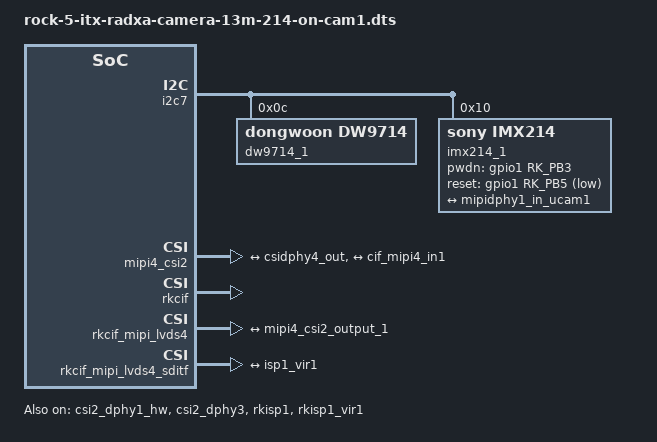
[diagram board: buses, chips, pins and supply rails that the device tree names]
/dts-v1/;
/plugin/;

#include <dt-bindings/clock/rk3588-cru.h>
#include <dt-bindings/power/rk3588-power.h>
#include <dt-bindings/gpio/gpio.h>
#include <dt-bindings/pinctrl/rockchip.h>

/ {
	metadata {
		title ="Enable Radxa Camera 13M 214 on CAM1";
		compatible = "radxa,rock-5-itx";
		category = "camera";
		exclusive = "csi2_dphy3";
		description = "Enable Radxa Camera 13M 214 on CAM1.";
	};
};

&i2c7 {
	status = "okay";
	#address-cells = <1>;
	#size-cells = <0>;

	dw9714_1: dw9714-1@c {
		compatible = "dongwoon,dw9714";
		status = "okay";
		reg = <0x0c>;
		rockchip,vcm-start-current = <10>;
		rockchip,vcm-rated-current = <85>;
		rockchip,vcm-step-mode = <3>;
		rockchip,camera-module-index = <0>;
		rockchip,camera-module-facing = "back";
	};

	imx214_1: imx214-1@10 {
		status = "okay";
		compatible = "sony,imx214";
		reg = <0x10>;
		clocks = <&cru CLK_MIPI_CAMARAOUT_M4>;
		clock-names = "xvclk";
		pinctrl-names = "default";
		pinctrl-0 = <&mipim0_camera4_clk>;
		power-domains = <&power RK3588_PD_VI>;
		pwdn-gpios = <&gpio1 RK_PB3 GPIO_ACTIVE_HIGH>;
		reset-gpios = <&gpio1 RK_PB5 GPIO_ACTIVE_LOW>;
		rockchip,camera-module-index = <1>;
		rockchip,camera-module-facing = "front";
		rockchip,camera-module-name = "RADXA-CAMERA-13M-214";
		rockchip,camera-module-lens-name = "DEFAULT";
		lens-focus = <&dw9714_1>;
		port {
			imx214_out1: endpoint {
				remote-endpoint = <&mipidphy1_in_ucam1>;
				data-lanes = <1 2 3 4>;
			};
		};
	};
};

&csi2_dphy1_hw {
	status = "okay";
};

&csi2_dphy3 {
	status = "okay";

	ports {
		#address-cells = <1>;
		#size-cells = <0>;

		port@0 {
			reg = <0>;
			#address-cells = <1>;
			#size-cells = <0>;

			mipidphy1_in_ucam1: endpoint@1 {
				reg = <1>;
				remote-endpoint = <&imx214_out1>;
				data-lanes = <1 2 3 4>;
			};
		};

		port@1 {
			reg = <1>;
			#address-cells = <1>;
			#size-cells = <0>;

			csidphy4_out: endpoint@0 {
				reg = <0>;
				remote-endpoint = <&mipi4_csi2_input_1>;
			};
		};
	};
};

&mipi4_csi2 {
	status = "okay";

	ports {
		#address-cells = <1>;
		#size-cells = <0>;

		port@0 {
			reg = <0>;
			#address-cells = <1>;
			#size-cells = <0>;

			mipi4_csi2_input_1: endpoint@1 {
				reg = <1>;
				remote-endpoint = <&csidphy4_out>;
			};
		};

		port@1 {
			reg = <1>;
			#address-cells = <1>;
			#size-cells = <0>;

			mipi4_csi2_output_1: endpoint@0 {
				reg = <0>;
				remote-endpoint = <&cif_mipi4_in1>;
			};
		};
	};
};

&rkcif {
	status = "okay";
};

&rkcif_mipi_lvds4 {
	status = "okay";

	port {
		cif_mipi4_in1: endpoint {
			remote-endpoint = <&mipi4_csi2_output_1>;
		};
	};
};

&rkcif_mipi_lvds4_sditf {
	status = "okay";

	port {
		mipi4_lvds2_sditf_1: endpoint {
			remote-endpoint = <&isp1_vir1>;
		};
	};
};

&rkcif_mmu {
	status = "okay";
};

&isp1_mmu {
	status = "okay";
};

&rkisp1 {
	status = "okay";
};

&rkisp1_vir1 {
	status = "okay";

	port {
		#address-cells = <1>;
		#size-cells = <0>;

		isp1_vir1: endpoint@0 {
			reg = <0>;
			remote-endpoint = <&mipi4_lvds2_sditf_1>;
		};
	};
};
